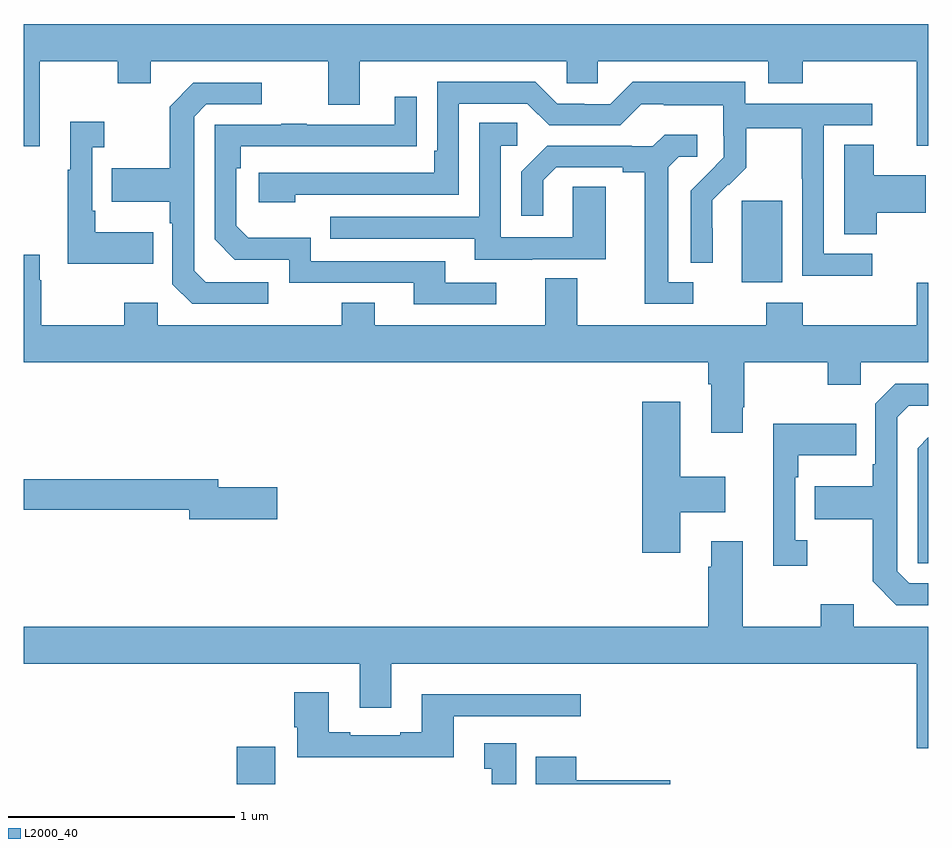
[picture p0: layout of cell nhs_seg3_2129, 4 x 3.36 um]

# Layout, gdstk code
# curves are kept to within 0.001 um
import gdstk
lib = gdstk.Library(unit=1e-6, precision=1e-09)
def R(c, l, rs):  # rectangles x0, y0, x1, y1
    for r in rs: c.add(gdstk.rectangle(r[:2], r[2:], *l))
def P(c, l, *ps):  # polygons
    for p in ps: c.add(gdstk.Polygon(p, *l))
L2000_40 = (2000, 40)

nhs_seg3_2129 = lib.new_cell('nhs_seg3_2129')
R(nhs_seg3_2129, L2000_40, [(221.942,684.4,222.112,684.565), (224.174,686.618,224.353,686.979)])
P(nhs_seg3_2129, L2000_40, [(221.071,687.596),(221.416,687.596),(221.416,687.497),(221.563,687.497),(221.563,687.596),(222.347,687.596),(222.347,687.402),(222.487,687.402),(222.487,687.596),(223.401,687.596),(223.401,687.498),(223.539,687.498),(223.539,687.596),(224.291,687.596),(224.291,687.497),(224.444,687.497),(224.444,687.596),(224.948,687.596),(224.948,687.222),(225,687.222),(225,687.76),(221,687.76),(221,687.219),(221.071,687.219)],
  [(224.752,686.745),(224.538,686.745),(224.538,687.312),(224.752,687.312),(224.752,687.408),(224.19,687.408),(224.19,687.505),(223.693,687.505),(223.593,687.405),(223.478,687.405),(223.478,687.408),(223.359,687.408),(223.263,687.504),(222.828,687.504),(222.828,687.199),(222.815,687.199),(222.815,687.102),(222.039,687.102),(222.039,686.972),(222.2,686.972),(222.2,687.006),(222.924,687.006),(222.924,687.408),(223.227,687.408),(223.323,687.312),(223.638,687.312),(223.731,687.405),(223.831,687.405),(223.831,687.401),(224.094,687.401),(224.094,687.267),(224.096,687.267),(224.096,687.17),(223.95,687.022),(223.95,686.704),(224.046,686.704),(224.045,686.981),(224.115,687.051),(224.118,687.048),(224.195,687.125),(224.195,687.3),(224.44,687.3),(224.44,687.076),(224.442,687.076),(224.442,686.647),(224.752,686.647)],
  [(222.082,686.619),(221.805,686.619),(221.754,686.67),(221.754,687.351),(221.808,687.405),(222.052,687.405),(222.052,687.501),(221.751,687.501),(221.646,687.395),(221.646,687.123),(221.389,687.123),(221.389,686.975),(221.646,686.975),(221.646,686.879),(221.658,686.879),(221.658,686.61),(221.745,686.523),(222.082,686.523)],
  [(223.09,686.616),(222.865,686.616),(222.865,686.712),(222.27,686.712),(222.27,686.815),(221.993,686.815),(221.94,686.868),(221.94,687.122),(221.96,687.122),(221.96,687.219),(222.737,687.22),(222.737,687.439),(222.641,687.439),(222.641,687.315),(222.251,687.315),(222.251,687.32),(222.139,687.32),(222.139,687.315),(221.844,687.315),(221.844,686.808),(221.934,686.718),(222.174,686.718),(222.174,686.616),(222.725,686.616),(222.725,686.52),(223.09,686.52)],
  [(221.573,686.839),(221.317,686.839),(221.317,686.935),(221.304,686.935),(221.304,687.215),(221.356,687.215),(221.356,687.328),(221.207,687.328),(221.207,687.115),(221.196,687.115),(221.196,686.699),(221.573,686.699)],
  [(223.249,686.721),(223.573,686.721),(223.573,687.041),(223.428,687.041),(223.428,686.817),(223.11,686.817),(223.11,687.222),(223.183,687.222),(223.183,687.323),(223.014,687.323),(223.014,686.907),(222.355,686.907),(222.355,686.811),(222.995,686.811),(222.995,686.717),(223.249,686.717)],
  [(223.96,686.619),(223.849,686.619),(223.849,687.127),(223.896,687.174),(223.978,687.174),(223.978,687.271),(223.834,687.271),(223.782,687.219),(223.688,687.219),(223.688,687.222),(223.316,687.222),(223.2,687.106),(223.2,686.913),(223.297,686.913),(223.297,687.069),(223.354,687.126),(223.649,687.126),(223.649,687.104),(223.745,687.104),(223.745,686.523),(223.96,686.523)],
  [(224.771,686.926),(224.989,686.926),(224.989,687.091),(224.758,687.091),(224.758,687.227),(224.627,687.227),(224.627,686.83),(224.771,686.83)],
  [(223.307,686.636),(223.307,686.428),(222.553,686.428),(222.553,686.527),(222.406,686.527),(222.406,686.428),(221.592,686.428),(221.592,686.527),(221.446,686.527),(221.446,686.428),(221.079,686.428),(221.079,686.627),(221.071,686.627),(221.071,686.74),(221,686.74),(221,686.264),(224.027,686.264),(224.027,686.168),(224.039,686.168),(224.039,685.953),(224.179,685.953),(224.179,686.065),(224.187,686.065),(224.187,686.264),(224.554,686.264),(224.554,686.165),(224.7,686.165),(224.7,686.264),(225,686.264),(225,686.617),(224.948,686.617),(224.948,686.428),(224.444,686.428),(224.444,686.527),(224.284,686.527),(224.284,686.428),(223.447,686.428),(223.447,686.636)],
  [(225,685.287),(224.916,685.287),(224.862,685.341),(224.862,686.022),(224.913,686.073),(225,686.073),(225,686.169),(224.853,686.169),(224.766,686.082),(224.766,685.813),(224.754,685.813),(224.754,685.717),(224.497,685.717),(224.497,685.57),(224.754,685.57),(224.754,685.297),(224.859,685.191),(225,685.191)],
  [(223.903,685.601),(224.101,685.601),(224.101,685.759),(223.903,685.759),(223.903,686.089),(223.736,686.089),(223.736,685.422),(223.903,685.422)],
  [(224.464,685.478),(224.412,685.478),(224.412,685.757),(224.425,685.757),(224.425,685.853),(224.681,685.853),(224.681,685.993),(224.315,685.993),(224.315,685.365),(224.464,685.365)],
  [(225,685.932),(224.952,685.884),(224.952,685.377),(225,685.377)],
  [(222.121,685.712),(221.86,685.712),(221.86,685.748),(221,685.748),(221,685.612),(221.732,685.612),(221.732,685.57),(222.121,685.57)],
  [(225,685.096),(224.671,685.096),(224.671,685.195),(224.524,685.195),(224.524,685.096),(224.179,685.096),(224.179,685.474),(224.039,685.474),(224.039,685.361),(224.027,685.361),(224.027,685.096),(221,685.096),(221,684.932),(222.485,684.932),(222.485,684.738),(222.625,684.738),(222.625,684.932),(224.948,684.932),(224.948,684.558),(225,684.558)],
  [(222.901,684.699),(223.462,684.699),(223.462,684.796),(222.761,684.796),(222.761,684.628),(222.665,684.628),(222.665,684.615),(222.445,684.615),(222.445,684.628),(222.349,684.628),(222.349,684.805),(222.197,684.805),(222.197,684.652),(222.209,684.652),(222.209,684.518),(222.901,684.518)],
  [(223.177,684.58),(223.037,684.58),(223.037,684.467),(223.07,684.467),(223.07,684.4),(223.177,684.4)],
  [(223.858,684.416),(223.444,684.416),(223.444,684.52),(223.265,684.52),(223.265,684.4),(223.858,684.4)])

lib.write_gds('nhs_seg3_2129.gds')
